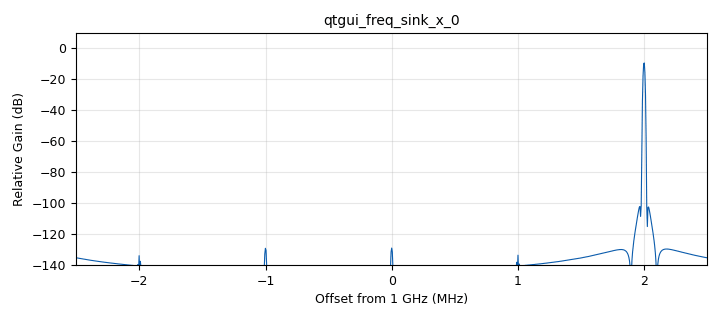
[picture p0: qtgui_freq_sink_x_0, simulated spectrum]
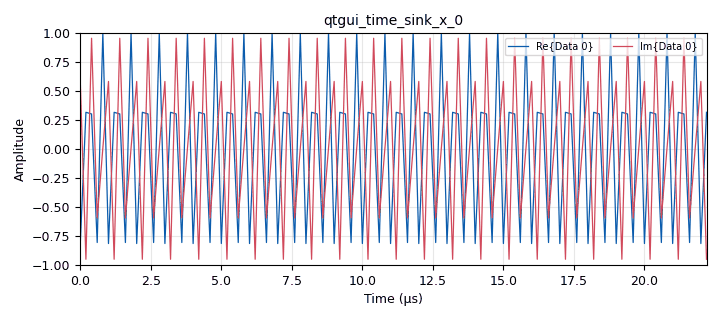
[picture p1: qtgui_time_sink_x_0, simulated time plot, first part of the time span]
options:
  parameters:
    generate_options: qt_gui
    id: bursting
    output_language: python
    title: bursting
  states: {}

blocks:
- name: attenuation
  id: variable_qtgui_range
  parameters:
    min_len: '100'
    start: '0'
    step: '10'
    stop: '255'
    value: '125'
  states: {}
- name: bandwidth
  id: variable_qtgui_range
  parameters:
    start: '1000'
    step: 1e6
    stop: 250e6
    value: sample_rate * 0.8
  states: {}
- name: frequency
  id: variable_qtgui_range
  parameters:
    label: Frequency
    min_len: '100'
    start: 500e6
    step: 1e6
    stop: 6000e6
    value: 1000e6
  states: {}
- name: min_output_buffer
  id: variable
  parameters:
    value: 32764 *2*2
  states: {}
- name: run_tx_calibration
  id: variable_qtgui_push_button
  parameters:
    pressed: '1'
    released: '0'
    type: int
    value: '0'
  states: {}
- name: sample_rate
  id: variable_qtgui_range
  parameters:
    start: 1e6
    step: 1e6
    stop: 250e6
    value: 5e6
  states: {}
- name: tone_freq
  id: variable_qtgui_range
  parameters:
    start: 1e6
    step: 1e6
    stop: 25e6
    value: 2e6
  states: {}
- name: analog_sig_source_x_0
  id: analog_sig_source_x
  parameters:
    amp: '1'
    freq: tone_freq
    minoutbuf: min_output_buffer
    offset: '0'
    phase: '0'
    samp_rate: sample_rate
    type: complex
    waveform: analog.GR_COS_WAVE
  states: {}
- name: blocks_add_xx_0
  id: blocks_add_xx
  parameters:
    minoutbuf: min_output_buffer
    type: complex
  states: {}
- name: blocks_tags_strobe_0
  id: blocks_tags_strobe
  parameters:
    key: pmt.intern("tx_burst")
    nsamps: int(sample_rate * 4)
    type: complex
    value: pmt.to_pmt(5000000)
  states: {}
- name: blocks_throttle_0
  id: blocks_throttle
  parameters:
    samples_per_second: sample_rate
    type: complex
  states: {}
- name: qtgui_edit_box_msg_0
  id: qtgui_edit_box_msg
  parameters:
    is_static: 'False'
    key: start_burst
    type: double
    value: '1'
  states: {}
- name: qtgui_freq_sink_x_0
  id: qtgui_freq_sink_x
  parameters:
    bw: sample_rate
    fc: frequency
    fftsize: '1024'
    type: complex
  states: {}
- name: qtgui_time_sink_x_0
  id: qtgui_time_sink_x
  parameters:
    size: '1024'
    srate: sample_rate
    style1: '2'
    tr_mode: qtgui.TRIG_MODE_AUTO
    tr_tag: '"tx_burst"'
    type: complex
  states: {}
- name: sidekiq_sidekiq_tx_0
  id: sidekiq_sidekiq_tx
  parameters:
    attenuation: attenuation
    bandwidth: bandwidth
    buffer_size: '4092'
    cal_mode: '1'
    card: '0'
    frequency: frequency
    handle: '0'
    run_cal: run_tx_calibration
    sample_rate: sample_rate
    threads: '1'
  states: {}

connections:
- [analog_sig_source_x_0, '0', blocks_add_xx_0, '0']
- [blocks_add_xx_0, '0', blocks_throttle_0, '0']
- [blocks_tags_strobe_0, '0', blocks_add_xx_0, '1']
- [blocks_throttle_0, '0', qtgui_freq_sink_x_0, '0']
- [blocks_throttle_0, '0', qtgui_time_sink_x_0, '0']
- [blocks_throttle_0, '0', sidekiq_sidekiq_tx_0, '0']
- [qtgui_edit_box_msg_0, msg, sidekiq_sidekiq_tx_0, command]

metadata:
  file_format: 1
  grc_version: 3.10.3.0
